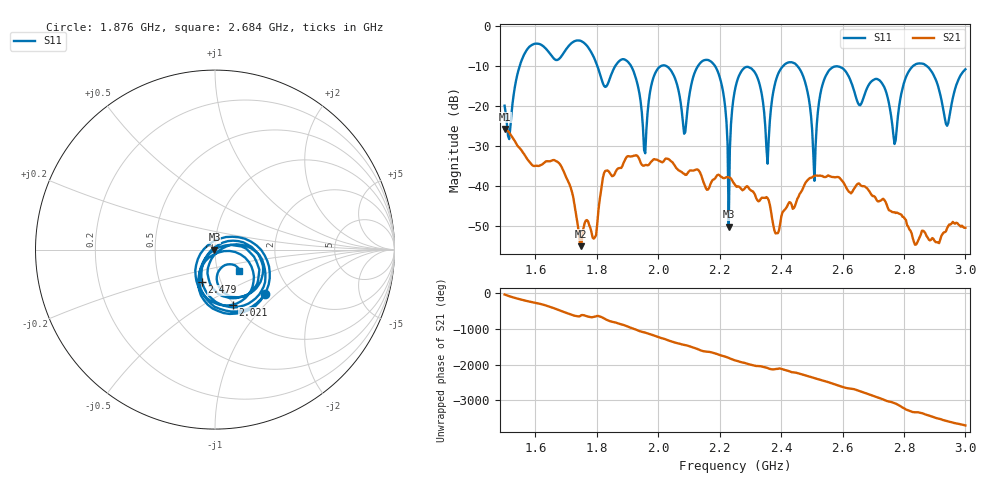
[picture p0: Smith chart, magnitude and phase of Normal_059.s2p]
# HZ S RI R 50
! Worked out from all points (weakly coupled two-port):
!   404 points, 1.5 GHz to 3 GHz, reference 50 ohm
!   highest |S21| = -25.73 dB at 1.5 GHz (marker M1); lowest = -55.0 dB at 1.749 GHz (marker M2)
!   lowest |S11| = -50.2 dB at 2.23 GHz (marker M3), VSWR 1.01, Z = 49.7 - j0.0141 ohm
!   |S11| at or under -10 dB: 2.185 GHz to 2.406 GHz (221.1 MHz wide, 9.63 % of centre); 2.454 GHz to 2.829 GHz (375.6 MHz wide, 14.2 % of centre); 2.875 GHz to end of sweep (the widest 3 of 7)
!   S12 and S22 are empty: the file has one direction only
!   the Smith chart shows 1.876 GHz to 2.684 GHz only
!   S11 on the Smith chart (normalised r, x): 1.876 GHz: 1.47, -0.85; 2.021 GHz: 0.99, -0.68; 2.479 GHz: 0.81, -0.31; 2.684 GHz: 1.27, -0.31
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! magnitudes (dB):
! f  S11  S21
! 1.5 GHz  -19.9  -25.7
! 1.749 GHz  -3.7  -55.0
! 1.753 GHz  -3.9  -52.3
! 1.876 GHz  -8.6  -35.5
! 1.958 GHz  -31.8  -34.7
! 2.002 GHz  -10.3  -33.7
! 2.021 GHz  -9.8  -33.4
! 2.084 GHz  -26.9  -36.9
! 2.181 GHz  -9.6  -38.3
! 2.23 GHz  -50.2  -37.8
! 2.252 GHz  -15.2  -39.9
! 2.315 GHz  -11.6  -42.1
! 2.356 GHz  -34.4  -43.0
! 2.401 GHz  -10.5  -47.6
! 2.479 GHz  -14.2  -39.2
! 2.501 GHz  -26.1  -37.8
! 2.561 GHz  -10.7  -37.6
! 2.684 GHz  -14.9  -40.9
! 2.751 GHz  -19.1  -46.0
! 2.862 GHz  -9.4  -51.1
! 2.94 GHz  -24.9  -50.5
! 3 GHz  -10.8  -50.4
